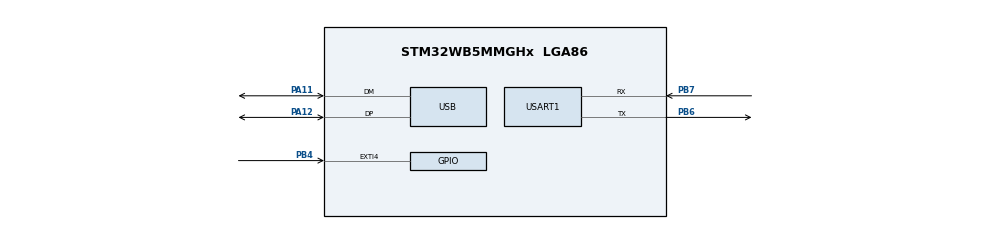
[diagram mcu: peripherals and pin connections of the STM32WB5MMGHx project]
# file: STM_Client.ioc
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Mcu.Family=STM32WB
Mcu.Name=STM32WB5MMGHx
Mcu.Package=LGA86
NVIC.EXTI4_IRQn=true\:0\:0\:false\:false\:true\:true\:true\:true
NVIC.HSEM_IRQn=true\:0\:0\:false\:false\:true\:false\:true\:true
NVIC.IPCC_C1_RX_IRQn=true\:0\:0\:false\:false\:true\:true\:true\:true
NVIC.IPCC_C1_TX_IRQn=true\:0\:0\:false\:false\:true\:true\:true\:true
NVIC.PriorityGroup=NVIC_PRIORITYGROUP_4
NVIC.RTC_WKUP_IRQn=true\:0\:0\:false\:false\:true\:true\:true\:true
NVIC.USART1_IRQn=true\:0\:0\:false\:false\:true\:true\:true\:true
NVIC.USB_LP_IRQn=true\:0\:0\:false\:false\:true\:false\:true\:true
PA11.Mode=Device
PA11.Signal=USB_DM
PA12.Mode=Device
PA12.Signal=USB_DP
PA13.Mode=Trace_Asynchronous_SW
PA13.Signal=SYS_JTMS-SWDIO
PA14.Mode=Trace_Asynchronous_SW
PA14.Signal=SYS_JTCK-SWCLK
PB3.Mode=Trace_Asynchronous_SW
PB3.Signal=SYS_JTDO-SWO
PB4.GPIO_ModeDefaultEXTI=GPIO_MODE_IT_FALLING
PB4.GPIO_PuPd=GPIO_PULLUP
PB4.Signal=GPXTI4
PB6.Mode=Asynchronous
PB6.Signal=USART1_TX
PB7.Mode=Asynchronous
PB7.Signal=USART1_RX
ProjectManager.HeapSize=0x200
ProjectManager.StackSize=0x400
ProjectManager.TargetToolchain=STM32CubeIDE
RCC.ADCFreq_Value=48000000
RCC.AHB2CLKDivider=RCC_SYSCLK_DIV2
RCC.AHBFreq_Value=64000000
RCC.APB1Freq_Value=64000000
RCC.APB1TimFreq_Value=64000000
RCC.APB2Freq_Value=64000000
RCC.APB2TimFreq_Value=64000000
RCC.APB3Freq_Value=16000000
RCC.CortexFreq_Value=64000000
RCC.HCLKFreq_Value=64000000
RCC.HSE_VALUE=32000000
RCC.HSI48_VALUE=48000000
RCC.HSI_VALUE=16000000
RCC.PLLN=32
RCC.PLLSAI1N=24
RCC.SYSCLKFreq_VALUE=64000000
RCC.SYSCLKSource=RCC_SYSCLKSOURCE_PLLCLK
RCC.USBFreq_Value=48000000
RCC.VCOOutputFreq_Value=128000000
STM32_WPAN.BLE_APPLICATION_TYPE=BLE_CLIENT_PROFILE
STM32_WPAN.LOCAL_NAME=StmCLI
STM32_WPAN.LOCAL_NAME_FORMATTED=,'S','t','m','C','L','I'
USART1.VirtualMode-Asynchronous=VM_ASYNC
USB_DEVICE.CLASS_NAME_FS=CDC
USB_DEVICE.VirtualMode=Cdc
USB_DEVICE.VirtualModeFS=Cdc_FS
VP_HSEM_VS_HSEM.Mode=HSEM_Activate
VP_IPCC_VS_IPCC.Mode=IPCC_Activate
VP_MEMORYMAP_VS_MEMORYMAP.Mode=CurAppReg
VP_RCC_V_OSC32_IN.Mode=LSE-External-Clock-Source
VP_RCC_V_OSC_IN.Mode=HSE-External-Clock-Source
VP_RF_VS_RF.Mode=RF_Activate
VP_RTC_VS_RTC_Activate.Mode=RTC_Enabled
VP_RTC_VS_RTC_WakeUp_intern.Mode=WakeUp
VP_SEQUENCER_VS_SEQUENCER.Mode=SEQUENCER_Enabled
VP_STM32_WPAN_VS_BLE_HOST.Mode=STM32_WPAN_Enabled
VP_TINY_LPM_VS_TINY_LPM.Mode=TINY_LPM_Enabled
VP_USB_DEVICE_VS_USB_DEVICE_CDC_FS.Mode=CDC_FS
board=custom

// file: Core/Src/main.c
/* USER CODE BEGIN Header */
/**
  ******************************************************************************
  * @file           : main.c
  * @brief          : Main program body
  ******************************************************************************
  * @attention
  *
  * Copyright (c) 2026 STMicroelectronics.
  * All rights reserved.
  *
  * This software is licensed under terms that can be found in the LICENSE file
  * in the root directory of this software component.
  * If no LICENSE file comes with this software, it is provided AS-IS.
  *
  ******************************************************************************
  */
/* USER CODE END Header */
#include "main.h"
#include "ipcc.h"
#include "rf.h"
#include "rtc.h"
#include "usart.h"
#include "usb_device.h"
#include "gpio.h"

/* USER CODE BEGIN Includes */
	#include "stm32_seq.h"
/* USER CODE END Includes */

void SystemClock_Config(void);
void PeriphCommonClock_Config(void);

/* USER CODE BEGIN 0 */
int __io_putchar(int ch)
{
  HAL_UART_Transmit(&huart1, (uint8_t *)&ch, 1, 100);
  return ch;
}

volatile uint8_t flag = 0;
volatile uint8_t debounce = 0;
void HAL_GPIO_EXTI_Callback(uint16_t GPIO_Pin)
{
    if (GPIO_Pin == GPIO_PIN_4)
    {
    	flag = 1 ;
    }
}
extern  uint8_t seen_count;
extern uint8_t seen_devices[10][6];
extern uint8_t already_seen;
/* USER CODE END 0 */

int main(void)
{

  /* MCU Configuration--------------------------------------------------------*/

  /* Reset of all peripherals, Initializes the Flash interface and the Systick. */
  HAL_Init();
  /* Config code for STM32_WPAN (HSE Tuning must be done before system clock configuration) */
  MX_APPE_Config();

  /* Configure the system clock */
  SystemClock_Config();

  /* Configure the peripherals common clocks */
  PeriphCommonClock_Config();

  /* IPCC initialisation */
  MX_IPCC_Init();

  /* Initialize all configured peripherals */
  MX_GPIO_Init();
  MX_RTC_Init();
  MX_USB_Device_Init();
  MX_USART1_UART_Init();
  MX_RF_Init();
  /* USER CODE BEGIN 2 */
  printf("UART1 printf test\r\n");

  /* USER CODE END 2 */

  while(LL_HSEM_1StepLock(HSEM, CFG_HW_CLK48_CONFIG_SEMID));

  /* Init code for STM32_WPAN */
  MX_APPE_Init();

  /* Infinite loop */
  /* USER CODE BEGIN WHILE */
  while (1)
  {
	  MX_APPE_Process();
	  if(flag == 1 && debounce >= 10)
	  {
		   flag = 0;
		   debounce = 0;
	        printf("------------------ SCANNING -----------------------\r\n");

    /* USER CODE END WHILE */
    /* USER CODE BEGIN 3 */
           seen_count = 0;

		   already_seen = 0;

	      // printf("Scanning for NEW devices...\r\n");
	        //MX_APPE_Process();
	        // Start a fresh scan
	        UTIL_SEQ_SetTask(1 << CFG_TASK_START_SCAN_ID, CFG_SCH_PRIO_0);

	  }
  }
  /* USER CODE END 3 */
}

void SystemClock_Config(void)
{
  RCC_OscInitTypeDef RCC_OscInitStruct = {0};
  RCC_ClkInitTypeDef RCC_ClkInitStruct = {0};

  /** Configure LSE Drive Capability
  */
  HAL_PWR_EnableBkUpAccess();
  __HAL_RCC_LSEDRIVE_CONFIG(RCC_LSEDRIVE_MEDIUMHIGH);

  /** Configure the main internal regulator output voltage
  */
  __HAL_PWR_VOLTAGESCALING_CONFIG(PWR_REGULATOR_VOLTAGE_SCALE1);

  /** Initializes the RCC Oscillators according to the specified parameters
  * in the RCC_OscInitTypeDef structure.
  */
  RCC_OscInitStruct.OscillatorType = RCC_OSCILLATORTYPE_HSI|RCC_OSCILLATORTYPE_LSI1
                              |RCC_OSCILLATORTYPE_HSE|RCC_OSCILLATORTYPE_LSE
                              |RCC_OSCILLATORTYPE_MSI;
  RCC_OscInitStruct.HSEState = RCC_HSE_ON;
  RCC_OscInitStruct.LSEState = RCC_LSE_ON;
  RCC_OscInitStruct.HSIState = RCC_HSI_ON;
  RCC_OscInitStruct.MSIState = RCC_MSI_ON;
  RCC_OscInitStruct.HSICalibrationValue = RCC_HSICALIBRATION_DEFAULT;
  RCC_OscInitStruct.MSICalibrationValue = RCC_MSICALIBRATION_DEFAULT;
  RCC_OscInitStruct.MSIClockRange = RCC_MSIRANGE_6;
  RCC_OscInitStruct.LSIState = RCC_LSI_ON;
  RCC_OscInitStruct.PLL.PLLState = RCC_PLL_ON;
  RCC_OscInitStruct.PLL.PLLSource = RCC_PLLSOURCE_MSI;
  RCC_OscInitStruct.PLL.PLLM = RCC_PLLM_DIV1;
  RCC_OscInitStruct.PLL.PLLN = 32;
  RCC_OscInitStruct.PLL.PLLP = RCC_PLLP_DIV2;
  RCC_OscInitStruct.PLL.PLLR = RCC_PLLR_DIV2;
  RCC_OscInitStruct.PLL.PLLQ = RCC_PLLQ_DIV2;
  if (HAL_RCC_OscConfig(&RCC_OscInitStruct) != HAL_OK)
  {
    Error_Handler();
  }

  /** Configure the SYSCLKSource, HCLK, PCLK1 and PCLK2 clocks dividers
  */
  RCC_ClkInitStruct.ClockType = RCC_CLOCKTYPE_HCLK4|RCC_CLOCKTYPE_HCLK2
                              |RCC_CLOCKTYPE_HCLK|RCC_CLOCKTYPE_SYSCLK
                              |RCC_CLOCKTYPE_PCLK1|RCC_CLOCKTYPE_PCLK2;
  RCC_ClkInitStruct.SYSCLKSource = RCC_SYSCLKSOURCE_PLLCLK;
  RCC_ClkInitStruct.AHBCLKDivider = RCC_SYSCLK_DIV1;
  RCC_ClkInitStruct.APB1CLKDivider = RCC_HCLK_DIV1;
  RCC_ClkInitStruct.APB2CLKDivider = RCC_HCLK_DIV1;
  RCC_ClkInitStruct.AHBCLK2Divider = RCC_SYSCLK_DIV2;
  RCC_ClkInitStruct.AHBCLK4Divider = RCC_SYSCLK_DIV1;

  if (HAL_RCC_ClockConfig(&RCC_ClkInitStruct, FLASH_LATENCY_3) != HAL_OK)
  {
    Error_Handler();
  }

  /** Enable MSI Auto calibration
  */
  HAL_RCCEx_EnableMSIPLLMode();
}

void PeriphCommonClock_Config(void)
{
  RCC_PeriphCLKInitTypeDef PeriphClkInitStruct = {0};

  /** Initializes the peripherals clock
  */
  PeriphClkInitStruct.PeriphClockSelection = RCC_PERIPHCLK_SMPS|RCC_PERIPHCLK_RFWAKEUP;
  PeriphClkInitStruct.RFWakeUpClockSelection = RCC_RFWKPCLKSOURCE_HSE_DIV1024;
  PeriphClkInitStruct.SmpsClockSelection = RCC_SMPSCLKSOURCE_HSI;
  PeriphClkInitStruct.SmpsDivSelection = RCC_SMPSCLKDIV_RANGE1;

  if (HAL_RCCEx_PeriphCLKConfig(&PeriphClkInitStruct) != HAL_OK)
  {
    Error_Handler();
  }
}

void Error_Handler(void)
{
  /* USER CODE BEGIN Error_Handler_Debug */
  /* User can add his own implementation to report the HAL error return state */
  printf("!! Error_Handler() reached - execution is about to hang here !!\r\n");
  __disable_irq();
  while (1)
  {
  }
  /* USER CODE END Error_Handler_Debug */
}
